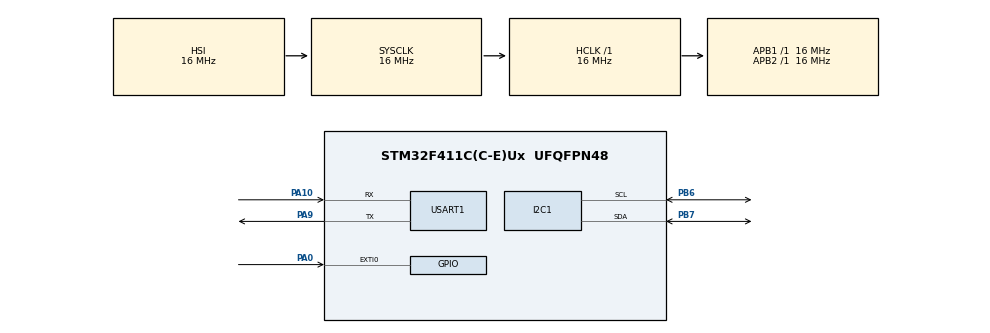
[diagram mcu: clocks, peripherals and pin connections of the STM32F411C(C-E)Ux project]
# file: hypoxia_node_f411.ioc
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Mcu.Family=STM32F4
Mcu.Name=STM32F411C(C-E)Ux
Mcu.Package=UFQFPN48
NVIC.EXTI0_IRQn=true\:0\:0\:false\:false\:true\:true\:true\:true
NVIC.PriorityGroup=NVIC_PRIORITYGROUP_4
PA0-WKUP.GPIO_ModeDefaultEXTI=GPIO_MODE_IT_FALLING
PA0-WKUP.GPIO_PuPd=GPIO_PULLUP
PA0-WKUP.Signal=GPXTI0
PA10.Mode=Asynchronous
PA10.Signal=USART1_RX
PA9.Mode=Asynchronous
PA9.Signal=USART1_TX
PB6.Mode=I2C
PB6.Signal=I2C1_SCL
PB7.Mode=I2C
PB7.Signal=I2C1_SDA
ProjectManager.HeapSize=0x200
ProjectManager.StackSize=0x400
ProjectManager.TargetToolchain=STM32CubeIDE
RCC.AHBFreq_Value=16000000
RCC.APB1Freq_Value=16000000
RCC.APB2Freq_Value=16000000
RCC.CortexFreq_Value=16000000
RCC.HSE_VALUE=25000000
RCC.HSI_VALUE=16000000
RCC.LSE_VALUE=32768
RCC.SYSCLKFreq_VALUE=16000000
RCC.VCOOutputFreq_Value=192000000
USART1.VirtualMode=VM_ASYNC
board=custom

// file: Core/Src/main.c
/* USER CODE BEGIN Header */
/**
  ******************************************************************************
  * @file           : main.c
  * @brief          : Main program body
  ******************************************************************************
  * @attention
  *
  * Copyright (c) 2026 STMicroelectronics.
  * All rights reserved.
  ******************************************************************************
  */
/* USER CODE END Header */
#include "main.h"
#include "i2c.h"
#include "usart.h"
#include "gpio.h"

/* USER CODE BEGIN Includes */
#include <stdio.h>
#include <math.h>
#include <stdbool.h>
#include <string.h>

#include "ppg_hr.h"

#include "ssd1306.h"
#include "ssd1306_fonts.h"
/* USER CODE END Includes */

/* USER CODE BEGIN PD */
/* === BMP280/BME280 === */
#define BMP280_ADDR            0x76
#define BMP280_REG_ID          0xD0
#define BMP280_REG_RESET       0xE0
#define BMP280_REG_CTRL_MEAS   0xF4
#define BMP280_REG_CONFIG      0xF5
#define BMP280_REG_PRESS_MSB   0xF7
#define BMP280_REG_CALIB       0x88

/* === MAX30102 === */
#define MAX30102_ADDR               0x57

#define MAX30102_REG_INTR_STATUS_1  0x00
#define MAX30102_REG_INTR_STATUS_2  0x01
#define MAX30102_REG_INTR_ENABLE_1  0x02
#define MAX30102_REG_INTR_ENABLE_2  0x03

#define MAX30102_REG_FIFO_WR_PTR    0x04
#define MAX30102_REG_FIFO_OVF_CNT   0x05
#define MAX30102_REG_FIFO_RD_PTR    0x06
#define MAX30102_REG_FIFO_DATA      0x07

#define MAX30102_REG_FIFO_CONFIG    0x08
#define MAX30102_REG_MODE_CONFIG    0x09
#define MAX30102_REG_SPO2_CONFIG    0x0A
#define MAX30102_REG_LED1_PA        0x0C   // RED
#define MAX30102_REG_LED2_PA        0x0D   // IR

#define MAX30102_MODE_RESET         0x40
#define MAX30102_MODE_SPO2          0x03

/* Tuning */
#define IR_FINGER_THRESHOLD         3000.0f
#define SIGNAL_LOST_DEBOUNCE_MS     7000u

/* I2C fail streak -> force SIGNAL_LOST */
#define I2C_FAIL_STREAK_FORCE_LOST  3u

/* === SpO2 (ratio-of-ratios) tuning === */
#define SPO2_A                      110.0f
#define SPO2_B                      25.0f
#define SPO2_MIN                    50.0f
#define SPO2_MAX                    100.0f
#define SPO2_SPIKE_REJECT_PCT       6.0f     // max change per 1s frame
#define SPO2_MIN_DC                 1000.0f  // กันหารศูนย์/สัญญาณไม่พอ
#define SPO2_MIN_AC                 50.0f    // กัน noise-only (หน่วย ADC)
#define SPO2_FAIL_STREAK_FORCE_LOST 3u       // fail ต่อเนื่องกี่เฟรมถึง force SIGNAL_LOST

/* OLED refresh rate */
#define OLED_UPDATE_MS              250u

/* === RUN/STOP Button ===
   สมมติปุ่ม PA0 ต่อกดลง GND และตั้ง Pull-up ใน CubeMX */
#define BTN_GPIO_Port   GPIOA
#define BTN_Pin         GPIO_PIN_0
#define BTN_DEBOUNCE_MS 200u
/* USER CODE END PD */

/* USER CODE BEGIN PV */
/* BMP calib */
static uint16_t dig_T1; static int16_t dig_T2, dig_T3;
static uint16_t dig_P1; static int16_t dig_P2, dig_P3, dig_P4, dig_P5, dig_P6, dig_P7, dig_P8, dig_P9;
static int32_t t_fine = 0;

/* PPG pipeline */
static HR_State g_hr;

static bool bmp_ok = false;
static bool max_ok = false;

/* Debounce / hold last-known-good */
static uint32_t last_good_ms = 0;
static float last_alt = 1.0f;
static float last_spo2 = 98.0f;
static int last_hr = 75, last_resp = 16, last_hrv = 35;

/* I2C error streak (frame-level) */
static uint32_t i2c_fail_streak = 0;

/* SpO2 quality fail streak */
static uint32_t spo2_fail_streak = 0;

/* OLED */
static uint32_t next_oled_ms = 0;

/* 1Hz scheduler */
static uint32_t next_frame_ms = 0;
static uint32_t ts = 0;

/* RUN/STOP */
static volatile uint8_t  g_run = 0;            // 0=STOP, 1=RUN
static volatile uint32_t g_btn_last_ms = 0;    // debounce time
static volatile uint8_t  g_run_toggle_req = 0; // ISR request
/* USER CODE END PV */

void SystemClock_Config(void);
/* USER CODE BEGIN PFP */
static uint8_t  i2c_read_u8(uint8_t dev7, uint8_t reg);
static int      i2c_read_buf(uint8_t dev7, uint8_t reg, uint8_t *buf, uint16_t len);
static int      i2c_write_u8(uint8_t dev7, uint8_t reg, uint8_t val);

/* BMP */
static uint16_t u16le(const uint8_t *p);
static int16_t  s16le(const uint8_t *p);
static int      bmp280_read_calib(void);
static int      bmp280_init(void);
static int32_t  bmp280_compensate_T_int32(int32_t adc_T);
static uint32_t bmp280_compensate_P_uint32(int32_t adc_P);
static int      bmp280_read_pressure_pa(float *pressure_pa);
static float    pressure_to_altitude_m(float pressure_pa);

/* MAX */
static int      max30102_init(void);
static int      max30102_read_sample(uint32_t *red, uint32_t *ir);

/* OLED helpers */
static void OLED_ShowBoot(void);
static void OLED_ShowPaused(void);
static void OLED_ShowData(uint32_t ts_local, bool lost);
/* USER CODE END PFP */

/* USER CODE BEGIN 0 */

/* ===== Button EXTI ===== */
void HAL_GPIO_EXTI_Callback(uint16_t GPIO_Pin)
{
  if (GPIO_Pin == BTN_Pin)
  {
    uint32_t now = HAL_GetTick();
    if ((now - g_btn_last_ms) >= BTN_DEBOUNCE_MS)
    {
      g_btn_last_ms = now;
      g_run_toggle_req = 1;
    }
  }
}

/* ===== I2C helpers ===== */
static uint8_t i2c_read_u8(uint8_t dev7, uint8_t reg)
{
  uint8_t val = 0xFF;
  if (HAL_I2C_Mem_Read(&hi2c1, (dev7 << 1), reg, I2C_MEMADD_SIZE_8BIT, &val, 1, 100) != HAL_OK)
    return 0xFF;
  return val;
}

static int i2c_read_buf(uint8_t dev7, uint8_t reg, uint8_t *buf, uint16_t len)
{
  return (HAL_I2C_Mem_Read(&hi2c1, (dev7 << 1), reg, I2C_MEMADD_SIZE_8BIT, buf, len, 200) == HAL_OK);
}

static int i2c_write_u8(uint8_t dev7, uint8_t reg, uint8_t val)
{
  return (HAL_I2C_Mem_Write(&hi2c1, (dev7 << 1), reg, I2C_MEMADD_SIZE_8BIT, &val, 1, 100) == HAL_OK);
}

/* ===== BMP280 ===== */
static uint16_t u16le(const uint8_t *p){ return (uint16_t)p[0] | ((uint16_t)p[1] << 8); }
static int16_t  s16le(const uint8_t *p){ return (int16_t)u16le(p); }

static int bmp280_read_calib(void)
{
  uint8_t c[24];
  if (!i2c_read_buf(BMP280_ADDR, BMP280_REG_CALIB, c, 24)) return 0;

  dig_T1 = u16le(&c[0]);  dig_T2 = s16le(&c[2]);  dig_T3 = s16le(&c[4]);
  dig_P1 = u16le(&c[6]);  dig_P2 = s16le(&c[8]);  dig_P3 = s16le(&c[10]);
  dig_P4 = s16le(&c[12]); dig_P5 = s16le(&c[14]); dig_P6 = s16le(&c[16]);
  dig_P7 = s16le(&c[18]); dig_P8 = s16le(&c[20]); dig_P9 = s16le(&c[22]);

  return (dig_P1 != 0);
}

static int bmp280_init(void)
{
  uint8_t id = i2c_read_u8(BMP280_ADDR, BMP280_REG_ID);
  if (id != 0x58 && id != 0x60) return 0;

  (void)i2c_write_u8(BMP280_ADDR, BMP280_REG_RESET, 0xB6);
  HAL_Delay(10);

  if (!bmp280_read_calib()) return 0;

  (void)i2c_write_u8(BMP280_ADDR, BMP280_REG_CONFIG, (5 << 5) | (0 << 2) | 0);
  (void)i2c_write_u8(BMP280_ADDR, BMP280_REG_CTRL_MEAS, (1 << 5) | (1 << 2) | 3);
  HAL_Delay(10);

  return 1;
}

static int32_t bmp280_compensate_T_int32(int32_t adc_T)
{
  int32_t var1, var2, T;
  var1 = ((((adc_T >> 3) - ((int32_t)dig_T1 << 1))) * ((int32_t)dig_T2)) >> 11;
  var2 = (((((adc_T >> 4) - ((int32_t)dig_T1)) * ((adc_T >> 4) - ((int32_t)dig_T1))) >> 12) * ((int32_t)dig_T3)) >> 14;
  t_fine = var1 + var2;
  T = (t_fine * 5 + 128) >> 8;
  return T;
}

static uint32_t bmp280_compensate_P_uint32(int32_t adc_P)
{
  int64_t var1, var2, p;
  var1 = ((int64_t)t_fine) - 128000;
  var2 = var1 * var1 * (int64_t)dig_P6;
  var2 = var2 + ((var1*(int64_t)dig_P5) << 17);
  var2 = var2 + (((int64_t)dig_P4) << 35);
  var1 = ((var1 * var1 * (int64_t)dig_P3) >> 8) + ((var1 * (int64_t)dig_P2) << 12);
  var1 = (((((int64_t)1) << 47) + var1)) * ((int64_t)dig_P1) >> 33;
  if (var1 == 0) return 0;

  p = 1048576 - adc_P;
  p = (((p << 31) - var2) * 3125) / var1;
  var1 = (((int64_t)dig_P9) * (p >> 13) * (p >> 13)) >> 25;
  var2 = (((int64_t)dig_P8) * p) >> 19;
  p = ((p + var1 + var2) >> 8) + (((int64_t)dig_P7) << 4);
  return (uint32_t)p;
}

static int bmp280_read_pressure_pa(float *pressure_pa)
{
  uint8_t d[6];
  if (!i2c_read_buf(BMP280_ADDR, BMP280_REG_PRESS_MSB, d, 6)) return 0;

  int32_t adc_P = (int32_t)((((uint32_t)d[0]) << 12) | (((uint32_t)d[1]) << 4) | (d[2] >> 4));
  int32_t adc_T = (int32_t)((((uint32_t)d[3]) << 12) | (((uint32_t)d[4]) << 4) | (d[5] >> 4));

  (void)bmp280_compensate_T_int32(adc_T);
  uint32_t p_q24_8 = bmp280_compensate_P_uint32(adc_P);
  if (p_q24_8 == 0) return 0;

  *pressure_pa = (float)p_q24_8 / 256.0f;
  return 1;
}

static float pressure_to_altitude_m(float pressure_pa)
{
  const float p0 = 101325.0f;
  float ratio = pressure_pa / p0;
  float alt = 44330.0f * (1.0f - powf(ratio, 0.1903f));
  if (!isfinite(alt) || alt == 0.0f) alt = 1.0f;
  return alt;
}

/* ===== MAX30102 ===== */
static int max30102_init(void)
{
  if (!i2c_write_u8(MAX30102_ADDR, MAX30102_REG_MODE_CONFIG, MAX30102_MODE_RESET))
    return 0;
  HAL_Delay(30);

  (void)i2c_read_u8(MAX30102_ADDR, MAX30102_REG_INTR_STATUS_1);
  (void)i2c_read_u8(MAX30102_ADDR, MAX30102_REG_INTR_STATUS_2);

  (void)i2c_write_u8(MAX30102_ADDR, MAX30102_REG_INTR_ENABLE_1, 0b11000000);
  (void)i2c_write_u8(MAX30102_ADDR, MAX30102_REG_INTR_ENABLE_2, 0x00);

  (void)i2c_write_u8(MAX30102_ADDR, MAX30102_REG_FIFO_CONFIG, (0b010 << 5) | (0 << 4) | 0x0F);

  /* ADC range=4096, SR=100sps, PW=411us (18-bit) */
  (void)i2c_write_u8(MAX30102_ADDR, MAX30102_REG_SPO2_CONFIG,
                     (0b01 << 5) | (0b011 << 2) | 0b11);

  (void)i2c_write_u8(MAX30102_ADDR, MAX30102_REG_LED1_PA, 0x24);
  (void)i2c_write_u8(MAX30102_ADDR, MAX30102_REG_LED2_PA, 0x24);

  (void)i2c_write_u8(MAX30102_ADDR, MAX30102_REG_MODE_CONFIG, MAX30102_MODE_SPO2);

  (void)i2c_write_u8(MAX30102_ADDR, MAX30102_REG_FIFO_WR_PTR, 0x00);
  (void)i2c_write_u8(MAX30102_ADDR, MAX30102_REG_FIFO_OVF_CNT, 0x00);
  (void)i2c_write_u8(MAX30102_ADDR, MAX30102_REG_FIFO_RD_PTR, 0x00);

  return 1;
}

static int max30102_read_sample(uint32_t *red, uint32_t *ir)
{
  uint8_t d[6];
  if (!i2c_read_buf(MAX30102_ADDR, MAX30102_REG_FIFO_DATA, d, 6))
    return 0;

  uint32_t r = ((uint32_t)d[0] << 16) | ((uint32_t)d[1] << 8) | d[2];
  uint32_t i = ((uint32_t)d[3] << 16) | ((uint32_t)d[4] << 8) | d[5];
  r &= 0x3FFFF;
  i &= 0x3FFFF;

  *red = r;
  *ir  = i;
  return 1;
}

/* ===== OLED ===== */
static void OLED_ShowBoot(void)
{
  ssd1306_Fill(Black);
  ssd1306_SetCursor(0, 0);
  ssd1306_WriteString("hypoxia_node_f411", Font_6x8, White);

  ssd1306_SetCursor(0, 12);
  ssd1306_WriteString(bmp_ok ? "BMP: OK" : "BMP: FAIL", Font_7x10, White);

  ssd1306_SetCursor(0, 28);
  ssd1306_WriteString(max_ok ? "MAX: OK" : "MAX: FAIL", Font_7x10, White);

  ssd1306_UpdateScreen();
}

static void OLED_ShowPaused(void)
{
  uint32_t now = HAL_GetTick();
  if ((int32_t)(now - next_oled_ms) < 0) return;
  next_oled_ms = now + OLED_UPDATE_MS;

  ssd1306_Fill(Black);
  ssd1306_SetCursor(0, 0);
  ssd1306_WriteString("PAUSED", Font_11x18, White);
  ssd1306_SetCursor(0, 22);
  ssd1306_WriteString("Press button", Font_7x10, White);
  ssd1306_SetCursor(0, 34);
  ssd1306_WriteString("to START", Font_7x10, White);
  ssd1306_UpdateScreen();
}

static void OLED_ShowData(uint32_t ts_local, bool lost)
{
  uint32_t now = HAL_GetTick();
  if ((int32_t)(now - next_oled_ms) < 0) return;
  next_oled_ms = now + OLED_UPDATE_MS;

  char line[32];
  ssd1306_Fill(Black);

  /* Line 1 */
  ssd1306_SetCursor(0, 0);
  if (lost) {
    ssd1306_WriteString("SIGNAL LOST", Font_7x10, White);
  } else {
    snprintf(line, sizeof(line), "TS:%lu", (unsigned long)ts_local);
    ssd1306_WriteString(line, Font_7x10, White);
  }

  /* Line 2: SpO2 + HR */
  ssd1306_SetCursor(0, 14);
  snprintf(line, sizeof(line), "SpO2:%4.1f", last_spo2);
  ssd1306_WriteString(line, Font_7x10, White);

  /* HR ตัวเล็กลงกันตกขอบ */
  ssd1306_SetCursor(82, 16);
  snprintf(line, sizeof(line), "HR:%3d", last_hr);
  ssd1306_WriteString(line, Font_6x8, White);

  /* Line 3: Resp + HRV */
  ssd1306_SetCursor(0, 30);
  snprintf(line, sizeof(line), "Resp:%2d", last_resp);
  ssd1306_WriteString(line, Font_7x10, White);

  /* HRV ตัวเล็กลงกันตกขอบ (แก้ตกขอบชัวร์) */
  ssd1306_SetCursor(76, 32);
  snprintf(line, sizeof(line), "HRV:%3d", last_hrv);
  ssd1306_WriteString(line, Font_6x8, White);

  /* Line 4: Alt (ลดความยาวกันล้น) */
  ssd1306_SetCursor(0, 46);
  snprintf(line, sizeof(line), "Alt:%5.1fm", last_alt);
  ssd1306_WriteString(line, Font_7x10, White);

  ssd1306_UpdateScreen();
}
/* USER CODE END 0 */

int main(void)
{
  /* MCU Configuration--------------------------------------------------------*/
  HAL_Init();
  SystemClock_Config();

  MX_GPIO_Init();
  MX_USART1_UART_Init();
  MX_I2C1_Init();

  /* USER CODE BEGIN 2 */
  bmp_ok = (bmp280_init() == 1);
  max_ok = (max30102_init() == 1);

  ssd1306_Init();
  OLED_ShowBoot();
  HAL_Delay(800);

  printf("BMP init: %s (ID=0x%02X)\r\n", bmp_ok ? "OK" : "FAIL",
         i2c_read_u8(BMP280_ADDR, BMP280_REG_ID));

  printf("MAX init: %s (PART=0x%02X REV=0x%02X)\r\n", max_ok ? "OK" : "FAIL",
         i2c_read_u8(MAX30102_ADDR, 0xFF),
         i2c_read_u8(MAX30102_ADDR, 0xFE));

  printf("FW=1.0,FS=1HZ,FORMAT=ts,spo2,hr,resp,hrv,alt\r\n");

  HR_Init(&g_hr, 100);

  last_good_ms = 0;
  i2c_fail_streak = 0;
  spo2_fail_streak = 0;

  next_frame_ms = HAL_GetTick();
  next_oled_ms = HAL_GetTick() + 50;

  /* เริ่มต้นให้เป็น STOP (ต้องกดปุ่มถึงเริ่ม RUN) */
  g_run = 0;
  OLED_ShowPaused();
  /* USER CODE END 2 */

  /* Infinite loop */
  /* USER CODE BEGIN WHILE */
  while (1)
  {
	    uint8_t btn = HAL_GPIO_ReadPin(BTN_GPIO_Port, BTN_Pin);

	    printf("BTN=%d\r\n", btn);

	    HAL_Delay(300);
    /* ===== RUN/STOP toggle ===== */
    if (g_run_toggle_req)
    {
      g_run_toggle_req = 0;
      g_run = (g_run == 0) ? 1 : 0;

      if (g_run)
      {
        next_frame_ms = HAL_GetTick();
        ts = 0;

        last_good_ms = 0;
        i2c_fail_streak = 0;
        spo2_fail_streak = 0;

        HR_SetSignalOK(&g_hr, false);
      }
      else
      {
        HR_SetSignalOK(&g_hr, false);
        OLED_ShowPaused();
      }
    }

    /* STOP: ไม่อ่านเซนเซอร์ ไม่ส่ง UART */
    if (!g_run)
    {
      OLED_ShowPaused();
      HAL_Delay(20);
      continue;
    }

    /* ===== 1Hz scheduler ===== */
    while ((int32_t)(HAL_GetTick() - next_frame_ms) < 0) { }
    uint32_t loop_start = next_frame_ms;
    next_frame_ms += 1000;

    uint32_t now = loop_start;
    ts++;

    bool frame_i2c_ok = true;

    /* ---- BMP pressure -> altitude ---- */
    float pressure_pa = 0.0f;
    float altitude = 1.0f;

    bool bmp_read_ok = false;
    if (bmp_ok) {
      bmp_read_ok = bmp280_read_pressure_pa(&pressure_pa);
      if (!bmp_read_ok) frame_i2c_ok = false;
    } else {
      frame_i2c_ok = false;
    }

    bool bmp_valid = bmp_ok && bmp_read_ok &&
                     (pressure_pa >= 30000.0f && pressure_pa <= 110000.0f);

    if (bmp_valid) altitude = pressure_to_altitude_m(pressure_pa);

    /* ---- MAX finger detect + HR feed + SpO2 window stats ---- */
    bool max_valid = false;
    bool spo2_frame_ok = false;

    if (max_ok)
    {
      uint32_t red_sum = 0, ir_sum = 0;
      uint64_t red_sumsq = 0, ir_sumsq = 0;
      uint32_t red = 0, ir = 0;
      int n = 0;
      int read_fail = 0;

      HR_SetSignalOK(&g_hr, false);

      for (int k = 0; k < 90; k++)
      {
        if (max30102_read_sample(&red, &ir))
        {
          red_sum += red;
          ir_sum  += ir;
          red_sumsq += (uint64_t)red * (uint64_t)red;
          ir_sumsq  += (uint64_t)ir  * (uint64_t)ir;
          n++;

          if (n >= 10)
          {
            float ir_avg_run = (float)ir_sum / (float)n;
            bool finger_run = isfinite(ir_avg_run) && (ir_avg_run >= IR_FINGER_THRESHOLD);
            HR_SetSignalOK(&g_hr, finger_run && frame_i2c_ok && (read_fail == 0));
          }

          HR_ProcessSample(&g_hr, (uint32_t)ir, HAL_GetTick());
        }
        else
        {
          read_fail++;
          HR_SetSignalOK(&g_hr, false);
        }

        HAL_Delay(10);
      }

      if (read_fail > 20) frame_i2c_ok = false;

      if (n >= 10)
      {
        float red_dc = (float)red_sum / (float)n;
        float ir_dc  = (float)ir_sum  / (float)n;

        if (isfinite(ir_dc) && ir_dc >= IR_FINGER_THRESHOLD) max_valid = true;

        float red_ex2 = (float)red_sumsq / (float)n;
        float ir_ex2  = (float)ir_sumsq  / (float)n;

        float red_var = red_ex2 - (red_dc * red_dc);
        float ir_var  = ir_ex2  - (ir_dc  * ir_dc);

        if (red_var < 0.0f) red_var = 0.0f;
        if (ir_var  < 0.0f) ir_var  = 0.0f;

        float red_ac = sqrtf(red_var);
        float ir_ac  = sqrtf(ir_var);

        bool spo2_new_valid = true;
        if (!isfinite(red_dc) || !isfinite(ir_dc) || !isfinite(red_ac) || !isfinite(ir_ac)) spo2_new_valid = false;
        if (red_dc < SPO2_MIN_DC || ir_dc < SPO2_MIN_DC) spo2_new_valid = false;
        if (red_ac < SPO2_MIN_AC || ir_ac < SPO2_MIN_AC) spo2_new_valid = false;
        if (!max_valid) spo2_new_valid = false;

        if (spo2_new_valid)
        {
          float r_red = red_ac / red_dc;
          float r_ir  = ir_ac  / ir_dc;

          if (!isfinite(r_red) || !isfinite(r_ir) || r_ir <= 0.0f) {
            spo2_new_valid = false;
          } else {
            float R = r_red / r_ir;
            if (!isfinite(R) || R <= 0.0f) {
              spo2_new_valid = false;
            } else {
              float spo2 = SPO2_A - (SPO2_B * R);

              if (spo2 < SPO2_MIN) spo2 = SPO2_MIN;
              if (spo2 > SPO2_MAX) spo2 = SPO2_MAX;

              float diff = spo2 - last_spo2;
              if (diff < 0) diff = -diff;

              if (diff <= SPO2_SPIKE_REJECT_PCT) {
                last_spo2 = spo2;
              }
              spo2_frame_ok = true;
            }
          }
        }
      }

      if (max_valid && spo2_frame_ok) {
        spo2_fail_streak = 0;
      } else if (max_valid) {
        spo2_fail_streak++;
      } else {
        spo2_fail_streak = 0;
      }
    }
    else
    {
      frame_i2c_ok = false;
      spo2_fail_streak = 0;
    }

    /* ---- I2C fail streak gating ---- */
    if (frame_i2c_ok) i2c_fail_streak = 0;
    else i2c_fail_streak++;

    now = HAL_GetTick();

    HR_SetSignalOK(&g_hr, (max_valid && (i2c_fail_streak == 0)));

    bool valid_frame = (bmp_valid && max_valid && (i2c_fail_streak == 0) &&
                        (spo2_fail_streak < SPO2_FAIL_STREAK_FORCE_LOST));

    if (valid_frame)
    {
      last_good_ms = now;
      last_alt = (isfinite(altitude) && altitude != 0.0f) ? altitude : 1.0f;

      /* HR */
      if (HR_HasValid(&g_hr)) {
        float bpm = HR_GetBPM(&g_hr);
        if (bpm < 30.0f) bpm = 30.0f;
        if (bpm > 220.0f) bpm = 220.0f;

        int new_hr = (int)(bpm + 0.5f);
        if (new_hr < 30) new_hr = 30;
        if (new_hr > 220) new_hr = 220;

        int diff = new_hr - last_hr;
        if (diff < 0) diff = -diff;
        if (diff <= 15) last_hr = new_hr;
      }

      /* Resp */
      if (RESP_HasValid(&g_hr)) {
        float rbpm = RESP_GetBPM(&g_hr);
        if (!isfinite(rbpm) || rbpm < RESP_MIN_BPM) rbpm = RESP_MIN_BPM;
        if (rbpm > RESP_MAX_BPM) rbpm = RESP_MAX_BPM;

        int new_resp = (int)(rbpm + 0.5f);
        if (new_resp < (int)RESP_MIN_BPM) new_resp = (int)RESP_MIN_BPM;
        if (new_resp > (int)RESP_MAX_BPM) new_resp = (int)RESP_MAX_BPM;

        int rdiff = new_resp - last_resp;
        if (rdiff < 0) rdiff = -rdiff;
        if (rdiff <= RESP_SPIKE_REJECT_BPM) last_resp = new_resp;
      }

      /* HRV */
      if (HRV_HasValid(&g_hr)) {
        float rmssd = HRV_GetRMSSD(&g_hr);
        if (!isfinite(rmssd) || rmssd < 1.0f) rmssd = 1.0f;
        if (rmssd > 300.0f) rmssd = 300.0f;

        last_hrv = (int)(rmssd + 0.5f);
        if (last_hrv < 1) last_hrv = 1;
      }

      printf("%lu,%.1f,%d,%d,%d,%.1f\r\n",
             (unsigned long)ts, last_spo2, last_hr, last_resp, last_hrv, last_alt);

      OLED_ShowData(ts, false);
    }
    else
    {
      bool force_lost = (i2c_fail_streak >= I2C_FAIL_STREAK_FORCE_LOST) ||
                        (spo2_fail_streak >= SPO2_FAIL_STREAK_FORCE_LOST);

      bool timeout_lost = (last_good_ms == 0) ||
                          ((now - last_good_ms) >= SIGNAL_LOST_DEBOUNCE_MS);

      if (force_lost || timeout_lost)
      {
        printf("SIGNAL_LOST\r\n");
        OLED_ShowData(ts, true);
      }
      else
      {
        printf("%lu,%.1f,%d,%d,%d,%.1f\r\n",
               (unsigned long)ts, last_spo2, last_hr, last_resp, last_hrv, last_alt);
        OLED_ShowData(ts, false);
      }
    }
  }
  /* USER CODE END WHILE */
}

void SystemClock_Config(void)
{
  RCC_OscInitTypeDef RCC_OscInitStruct = {0};
  RCC_ClkInitTypeDef RCC_ClkInitStruct = {0};

  __HAL_RCC_PWR_CLK_ENABLE();
  __HAL_PWR_VOLTAGESCALING_CONFIG(PWR_REGULATOR_VOLTAGE_SCALE1);

  RCC_OscInitStruct.OscillatorType = RCC_OSCILLATORTYPE_HSI;
  RCC_OscInitStruct.HSIState = RCC_HSI_ON;
  RCC_OscInitStruct.HSICalibrationValue = RCC_HSICALIBRATION_DEFAULT;
  RCC_OscInitStruct.PLL.PLLState = RCC_PLL_NONE;
  if (HAL_RCC_OscConfig(&RCC_OscInitStruct) != HAL_OK)
  {
    Error_Handler();
  }

  RCC_ClkInitStruct.ClockType = RCC_CLOCKTYPE_HCLK|RCC_CLOCKTYPE_SYSCLK
                              |RCC_CLOCKTYPE_PCLK1|RCC_CLOCKTYPE_PCLK2;
  RCC_ClkInitStruct.SYSCLKSource = RCC_SYSCLKSOURCE_HSI;
  RCC_ClkInitStruct.AHBCLKDivider = RCC_SYSCLK_DIV1;
  RCC_ClkInitStruct.APB1CLKDivider = RCC_HCLK_DIV1;
  RCC_ClkInitStruct.APB2CLKDivider = RCC_HCLK_DIV1;

  if (HAL_RCC_ClockConfig(&RCC_ClkInitStruct, FLASH_LATENCY_0) != HAL_OK)
  {
    Error_Handler();
  }
}

void Error_Handler(void)
{
  __disable_irq();
  while (1) { }
}
